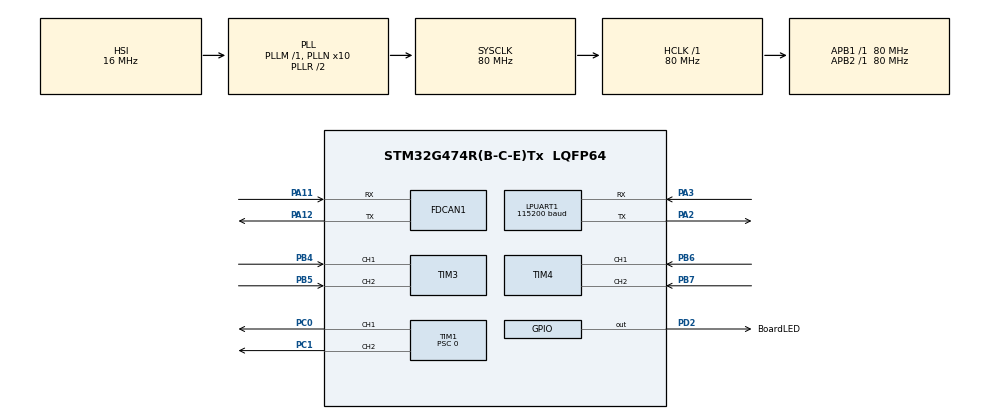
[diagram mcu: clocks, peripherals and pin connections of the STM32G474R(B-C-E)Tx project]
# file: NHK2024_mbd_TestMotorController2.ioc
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FDCAN1.CalculateBaudRateNominal=1000000
FDCAN1.CalculateTimeBitNominal=1000
FDCAN1.CalculateTimeQuantumNominal=50.0
FDCAN1.DataPrescaler=2
FDCAN1.DataTimeSeg1=15
FDCAN1.DataTimeSeg2=4
FDCAN1.FrameFormat=FDCAN_FRAME_FD_BRS
FDCAN1.NominalPrescaler=4
FDCAN1.NominalTimeSeg1=15
FDCAN1.NominalTimeSeg2=4
FDCAN1.StdFiltersNbr=1
IWDG.Prescaler=IWDG_PRESCALER_32
IWDG.Reload=999
IWDG.Window=999
LPUART1.BaudRate=115200
Mcu.Family=STM32G4
Mcu.Name=STM32G474R(B-C-E)Tx
Mcu.Package=LQFP64
NVIC.FDCAN1_IT0_IRQn=true\:0\:0\:false\:false\:true\:true\:true\:true
NVIC.PriorityGroup=NVIC_PRIORITYGROUP_4
NVIC.TIM6_DAC_IRQn=true\:0\:0\:false\:false\:true\:true\:true\:true
PA11.Mode=FDCAN_Activate
PA11.Signal=FDCAN1_RX
PA12.Mode=FDCAN_Activate
PA12.Signal=FDCAN1_TX
PA2.Mode=Asynchronous
PA2.Signal=LPUART1_TX
PA3.Mode=Asynchronous
PA3.Signal=LPUART1_RX
PB4.Signal=S_TIM3_CH1
PB5.Signal=S_TIM3_CH2
PB6.Signal=S_TIM4_CH1
PB7.Signal=S_TIM4_CH2
PC0.Signal=S_TIM1_CH1
PC1.Signal=S_TIM1_CH2
PD2.GPIO_Label=BoardLED
PD2.Signal=GPIO_Output
ProjectManager.HeapSize=0x200
ProjectManager.StackSize=0x400
ProjectManager.TargetToolchain=STM32CubeIDE
RCC.ADC12Freq_Value=80000000
RCC.ADC345Freq_Value=80000000
RCC.AHBFreq_Value=80000000
RCC.APB1Freq_Value=80000000
RCC.APB1TimFreq_Value=80000000
RCC.APB2Freq_Value=80000000
RCC.APB2TimFreq_Value=80000000
RCC.CortexFreq_Value=80000000
RCC.EXTERNAL_CLOCK_VALUE=12288000
RCC.HCLKFreq_Value=80000000
RCC.HSE_VALUE=8000000
RCC.HSI48_VALUE=48000000
RCC.HSI_VALUE=16000000
RCC.LSE_VALUE=32768
RCC.PLLN=10
RCC.SYSCLKFreq_VALUE=80000000
RCC.SYSCLKSource=RCC_SYSCLKSOURCE_PLLCLK
RCC.USBFreq_Value=80000000
RCC.VCOOutputFreq_Value=160000000
SH.S_TIM1_CH1.0=TIM1_CH1,PWM Generation1 CH1
SH.S_TIM1_CH2.0=TIM1_CH2,PWM Generation2 CH2
SH.S_TIM3_CH1.0=TIM3_CH1,Encoder_Interface
SH.S_TIM3_CH2.0=TIM3_CH2,Encoder_Interface
SH.S_TIM4_CH1.0=TIM4_CH1,Encoder_Interface
SH.S_TIM4_CH2.0=TIM4_CH2,Encoder_Interface
TIM1.Channel-PWM\ Generation1\ CH1=TIM_CHANNEL_1
TIM1.Channel-PWM\ Generation2\ CH2=TIM_CHANNEL_2
TIM1.PeriodNoDither=3999
TIM1.Prescaler=0
TIM6.PeriodNoDither=999
TIM6.Prescaler=79
VP_IWDG_VS_IWDG.Mode=IWDG_Activate
VP_TIM6_VS_ClockSourceINT.Mode=Enable_Timer
board=custom

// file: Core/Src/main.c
/* USER CODE BEGIN Header */
/**
  ******************************************************************************
  * @file           : main.c
  * @brief          : Main program body
  ******************************************************************************
  * @attention
  *
  * Copyright (c) 2024 STMicroelectronics.
  * All rights reserved.
  *
  * This software is licensed under terms that can be found in the LICENSE file
  * in the root directory of this software component.
  * If no LICENSE file comes with this software, it is provided AS-IS.
  *
  ******************************************************************************
  */
/* USER CODE END Header */
#include "main.h"

/* USER CODE BEGIN Includes */
#include "pid.h"
#include "R1CANIDList.h"
#include <stdio.h>

/* USER CODE END Includes */

/* USER CODE BEGIN PM */
#define CONTROL_CYCLE 1 //milli sec

#define PRINT 0

#define MIN_DUTY 1500

/* USER CODE END PM */

FDCAN_HandleTypeDef hfdcan1;

IWDG_HandleTypeDef hiwdg;

UART_HandleTypeDef hlpuart1;

TIM_HandleTypeDef htim1;
TIM_HandleTypeDef htim3;
TIM_HandleTypeDef htim4;
TIM_HandleTypeDef htim6;

/* USER CODE BEGIN PV */

PID motor_vel_pid[2];
double kp[2] = {5, 5};
float kd[2] = {0, 0};
float ki[2] = {0, 0};
double setpoint[2] = {700, 700};//ここ変えたら目標値が変わる．目標値はエンコーダのパルス数/msec

// CAN settings
FDCAN_TxHeaderTypeDef FDCAN1_TxHeader;
FDCAN_RxHeaderTypeDef FDCAN1_RxHeader;

/* USER CODE END PV */

void SystemClock_Config(void);
static void MX_GPIO_Init(void);
static void MX_TIM1_Init(void);
static void MX_TIM3_Init(void);
static void MX_TIM4_Init(void);
static void MX_TIM6_Init(void);
static void MX_LPUART1_UART_Init(void);
static void MX_FDCAN1_Init(void);
static void MX_IWDG_Init(void);
/* USER CODE BEGIN PFP */
int read_encoder_value(TIM_TypeDef *TIM);
/* USER CODE END PFP */

/* USER CODE BEGIN 0 */
void HAL_FDCAN_RxFifo0Callback(FDCAN_HandleTypeDef *hfdcan, uint32_t RxFifo0ITs) {
  uint8_t FDCAN1_RxData[2] = {0};

//  printf("FIFO0 callback\r\n");

  // Error Handling
  if ((RxFifo0ITs & FDCAN_IT_RX_FIFO0_NEW_MESSAGE) == RESET) return;
  if (hfdcan != &hfdcan1) return;

  if (HAL_FDCAN_GetRxMessage(hfdcan, FDCAN_RX_FIFO0, &FDCAN1_RxHeader, FDCAN1_RxData) != HAL_OK) {
      Error_Handler();
  }

//  printf("id = %d, data = %d\r\n", FDCAN1_RxHeader.Identifier, FDCAN1_RxData[0]);

  switch(FDCAN1_RxHeader.Identifier) {
    case CANID_BALL_MOTOR_ON:
      if (FDCAN1_RxData[0] == 0) { // motor running => stop
          printf("stop\r\n");
          HAL_TIM_PWM_Stop(&htim1, TIM_CHANNEL_1);
          HAL_TIM_PWM_Stop(&htim1, TIM_CHANNEL_2);
          HAL_TIM_Base_Stop_IT(&htim6);
      } else if (FDCAN1_RxData[0] == 1) { // motor stop => running
          printf("start\r\n");
          HAL_TIM_PWM_Start(&htim1, TIM_CHANNEL_1);
          HAL_TIM_PWM_Start(&htim1, TIM_CHANNEL_2);
          HAL_TIM_Base_Start_IT(&htim6);
      }
      break;

    case CANID_CHECK_IS_ACTIVE:
      if (HAL_IWDG_Refresh(&hiwdg) != HAL_OK)
      {
        Error_Handler();
      }
      break;

    default:
      break;
  }

}

void HAL_TIM_PeriodElapsedCallback(TIM_HandleTypeDef *htim)
{

	if(htim == &htim6){
		float vel[2] = {};

		vel[0] = read_encoder_value(TIM3)/CONTROL_CYCLE;
		vel[1] = read_encoder_value(TIM4)/CONTROL_CYCLE;

		int duty[2];

		for(uint8_t i=0; i<2; i++){
//			duty[i] = pid_compute(&motor_vel_pid[i], vel[i]);
//			//duty比が0で出力100%になるようになっているらしいので，数値を反転&PWM max or minを超えているときにmax or minに合わせて出力
//			duty[i] = duty[i]>htim1.Init.Period ? htim1.Init.Period : duty[i];
//			duty[i] = duty[i]<0                 ? 0                 : duty[i];
//			duty[i] = htim1.Init.Period - duty[i];
//
//			if (MIN_DUTY > duty[i]) { // For safty
//			    duty[i] = MIN_DUTY;
//			}
		    duty[i] = 3100;
		}

		__HAL_TIM_SET_COMPARE(&htim1, TIM_CHANNEL_1, duty[0]);
		__HAL_TIM_SET_COMPARE(&htim1, TIM_CHANNEL_2, duty[1]);

#if PRINT == 0
		static uint8_t index = 0;
		if(index == 50){
			printf("velocity :%f, duty:%d\r\n", vel[0], duty[0]);
//		  printf("%f, %f, %f, %f\r\n", 0, vel[0], motor_vel_pid[0].last_error, 100);
			index=0;
		}
		index++;
#endif

	  // For debug
//		uint32_t vel_0 = (uint32_t)vel[0];
//		uint32_t vel_1 = (uint32_t)vel[1];
//
//		uint8_t vels_for_debug[8];
//
//		vels_for_debug[0] = (value >> 24) & 0xFF; // 最上位バイト
//		vels_for_debug[1] = (value >> 16) & 0xFF;
//		vels_for_debug[2] = (value >> 8) & 0xFF;
//		vels_for_debug[3] = value & 0xFF; // 最下位バイト
//
//	  FDCAN1_TxHeader.Identifier = CANID_SHOOT_FOR_DEBUG;
//	  FDCAN1_TxHeader.DataLength = FDCAN_DLC_BYTES_4;
//	    if (HAL_FDCAN_AddMessageToTxFifoQ(&hfdcan1, &FDCAN1_TxHeader, vels_for_debug) != HAL_OK) {
//	        Error_Handler();
//	    }
	}
}

int read_encoder_value(TIM_TypeDef *TIM){
    uint32_t enc_buff = TIM->CNT;

	  TIM->CNT = 0;

	  uint32_t f_distance = enc_buff;
	  uint32_t b_distance = (65535 - enc_buff);

	  return (f_distance < b_distance) ? (int)(f_distance) : (int)(b_distance);
}

int _write(int file, char *ptr, int len)
{
    HAL_UART_Transmit(&hlpuart1,(uint8_t *)ptr,len,8);
    return len;
}

/* USER CODE END 0 */

int main(void)
{
  /* USER CODE BEGIN 1 */
	setbuf(stdout, NULL);
  /* USER CODE END 1 */

  /* MCU Configuration--------------------------------------------------------*/

  /* Reset of all peripherals, Initializes the Flash interface and the Systick. */
  HAL_Init();

  /* Configure the system clock */
  SystemClock_Config();

  /* Initialize all configured peripherals */
  MX_GPIO_Init();
  MX_TIM1_Init();
  MX_TIM3_Init();
  MX_TIM4_Init();
  MX_TIM6_Init();
  MX_LPUART1_UART_Init();
  MX_FDCAN1_Init();
  MX_IWDG_Init();
  /* USER CODE BEGIN 2 */

	HAL_TIM_Encoder_Start(&htim3, TIM_CHANNEL_ALL);
	HAL_TIM_PWM_Start(&htim1, TIM_CHANNEL_1);
	HAL_TIM_Encoder_Start(&htim4, TIM_CHANNEL_ALL);
	HAL_TIM_PWM_Start(&htim1, TIM_CHANNEL_2);

	for(uint8_t i=0; i<2; i++){
		pid_init(&motor_vel_pid[i], CONTROL_CYCLE, kp[i],  kd[i], ki[i], setpoint[i], 0, 250);
	}

	HAL_TIM_PWM_Stop(&htim1, TIM_CHANNEL_1);
	HAL_TIM_PWM_Stop(&htim1, TIM_CHANNEL_2);
	HAL_TIM_Base_Stop_IT(&htim6);

	printf("Initialized\r\n");
//  HAL_TIM_Base_Start_IT(&htim6);
  /* USER CODE END 2 */

  /* Infinite loop */
  while (1)
  {

  }
}

void SystemClock_Config(void)
{
  RCC_OscInitTypeDef RCC_OscInitStruct = {0};
  RCC_ClkInitTypeDef RCC_ClkInitStruct = {0};

  /** Configure the main internal regulator output voltage
  */
  HAL_PWREx_ControlVoltageScaling(PWR_REGULATOR_VOLTAGE_SCALE1);

  /** Initializes the RCC Oscillators according to the specified parameters
  * in the RCC_OscInitTypeDef structure.
  */
  RCC_OscInitStruct.OscillatorType = RCC_OSCILLATORTYPE_HSI|RCC_OSCILLATORTYPE_LSI;
  RCC_OscInitStruct.HSIState = RCC_HSI_ON;
  RCC_OscInitStruct.HSICalibrationValue = RCC_HSICALIBRATION_DEFAULT;
  RCC_OscInitStruct.LSIState = RCC_LSI_ON;
  RCC_OscInitStruct.PLL.PLLState = RCC_PLL_ON;
  RCC_OscInitStruct.PLL.PLLSource = RCC_PLLSOURCE_HSI;
  RCC_OscInitStruct.PLL.PLLM = RCC_PLLM_DIV1;
  RCC_OscInitStruct.PLL.PLLN = 10;
  RCC_OscInitStruct.PLL.PLLP = RCC_PLLP_DIV2;
  RCC_OscInitStruct.PLL.PLLQ = RCC_PLLQ_DIV2;
  RCC_OscInitStruct.PLL.PLLR = RCC_PLLR_DIV2;
  if (HAL_RCC_OscConfig(&RCC_OscInitStruct) != HAL_OK)
  {
    Error_Handler();
  }

  /** Initializes the CPU, AHB and APB buses clocks
  */
  RCC_ClkInitStruct.ClockType = RCC_CLOCKTYPE_HCLK|RCC_CLOCKTYPE_SYSCLK
                              |RCC_CLOCKTYPE_PCLK1|RCC_CLOCKTYPE_PCLK2;
  RCC_ClkInitStruct.SYSCLKSource = RCC_SYSCLKSOURCE_PLLCLK;
  RCC_ClkInitStruct.AHBCLKDivider = RCC_SYSCLK_DIV1;
  RCC_ClkInitStruct.APB1CLKDivider = RCC_HCLK_DIV1;
  RCC_ClkInitStruct.APB2CLKDivider = RCC_HCLK_DIV1;

  if (HAL_RCC_ClockConfig(&RCC_ClkInitStruct, FLASH_LATENCY_2) != HAL_OK)
  {
    Error_Handler();
  }
}

static void MX_FDCAN1_Init(void)
{

  hfdcan1.Instance = FDCAN1;
  hfdcan1.Init.ClockDivider = FDCAN_CLOCK_DIV1;
  hfdcan1.Init.FrameFormat = FDCAN_FRAME_FD_BRS;
  hfdcan1.Init.Mode = FDCAN_MODE_NORMAL;
  hfdcan1.Init.AutoRetransmission = DISABLE;
  hfdcan1.Init.TransmitPause = DISABLE;
  hfdcan1.Init.ProtocolException = DISABLE;
  hfdcan1.Init.NominalPrescaler = 4;
  hfdcan1.Init.NominalSyncJumpWidth = 1;
  hfdcan1.Init.NominalTimeSeg1 = 15;
  hfdcan1.Init.NominalTimeSeg2 = 4;
  hfdcan1.Init.DataPrescaler = 2;
  hfdcan1.Init.DataSyncJumpWidth = 1;
  hfdcan1.Init.DataTimeSeg1 = 15;
  hfdcan1.Init.DataTimeSeg2 = 4;
  hfdcan1.Init.StdFiltersNbr = 1;
  hfdcan1.Init.ExtFiltersNbr = 0;
  hfdcan1.Init.TxFifoQueueMode = FDCAN_TX_FIFO_OPERATION;
  if (HAL_FDCAN_Init(&hfdcan1) != HAL_OK)
  {
    Error_Handler();
  }
  /* USER CODE BEGIN FDCAN1_Init 2 */
//  FDCAN1_TxHeader.Identifier = 0x000;
  FDCAN1_TxHeader.IdType = FDCAN_STANDARD_ID;
  FDCAN1_TxHeader.TxFrameType = FDCAN_DATA_FRAME;
  FDCAN1_TxHeader.DataLength = FDCAN_DLC_BYTES_1;
  FDCAN1_TxHeader.ErrorStateIndicator = FDCAN_ESI_ACTIVE;
  FDCAN1_TxHeader.BitRateSwitch = FDCAN_BRS_ON;
  FDCAN1_TxHeader.FDFormat = FDCAN_FD_CAN;
  FDCAN1_TxHeader.TxEventFifoControl = FDCAN_NO_TX_EVENTS;
  FDCAN1_TxHeader.MessageMarker = 0;

  FDCAN_FilterTypeDef FDCAN1_sFilterConfig;
  FDCAN1_sFilterConfig.IdType = FDCAN_STANDARD_ID;
  FDCAN1_sFilterConfig.FilterIndex = 0;
  FDCAN1_sFilterConfig.FilterType = FDCAN_FILTER_RANGE;
  FDCAN1_sFilterConfig.FilterConfig = FDCAN_FILTER_TO_RXFIFO0;
  FDCAN1_sFilterConfig.FilterID1 = 0x00;
  FDCAN1_sFilterConfig.FilterID2 = 0x7ff;

  if (HAL_FDCAN_ConfigFilter(&hfdcan1, &FDCAN1_sFilterConfig) != HAL_OK) {
      Error_Handler();
  }
  if (HAL_FDCAN_ConfigGlobalFilter(&hfdcan1, FDCAN_REJECT, FDCAN_REJECT, FDCAN_FILTER_REMOTE, FDCAN_FILTER_REMOTE) !=
      HAL_OK) {
      Error_Handler();
  }
  if (HAL_FDCAN_Start(&hfdcan1) != HAL_OK) {
      Error_Handler();
  }
  if (HAL_FDCAN_ActivateNotification(&hfdcan1, FDCAN_IT_RX_FIFO0_NEW_MESSAGE, 0) != HAL_OK){
      Error_Handler();
  }
  /* USER CODE END FDCAN1_Init 2 */

}

static void MX_IWDG_Init(void)
{

  hiwdg.Instance = IWDG;
  hiwdg.Init.Prescaler = IWDG_PRESCALER_32;
  hiwdg.Init.Window = 999;
  hiwdg.Init.Reload = 999;
  if (HAL_IWDG_Init(&hiwdg) != HAL_OK)
  {
    Error_Handler();
  }

}

static void MX_LPUART1_UART_Init(void)
{

  hlpuart1.Instance = LPUART1;
  hlpuart1.Init.BaudRate = 115200;
  hlpuart1.Init.WordLength = UART_WORDLENGTH_8B;
  hlpuart1.Init.StopBits = UART_STOPBITS_1;
  hlpuart1.Init.Parity = UART_PARITY_NONE;
  hlpuart1.Init.Mode = UART_MODE_TX_RX;
  hlpuart1.Init.HwFlowCtl = UART_HWCONTROL_NONE;
  hlpuart1.Init.OneBitSampling = UART_ONE_BIT_SAMPLE_DISABLE;
  hlpuart1.Init.ClockPrescaler = UART_PRESCALER_DIV1;
  hlpuart1.AdvancedInit.AdvFeatureInit = UART_ADVFEATURE_NO_INIT;
  if (HAL_UART_Init(&hlpuart1) != HAL_OK)
  {
    Error_Handler();
  }
  if (HAL_UARTEx_SetTxFifoThreshold(&hlpuart1, UART_TXFIFO_THRESHOLD_1_8) != HAL_OK)
  {
    Error_Handler();
  }
  if (HAL_UARTEx_SetRxFifoThreshold(&hlpuart1, UART_RXFIFO_THRESHOLD_1_8) != HAL_OK)
  {
    Error_Handler();
  }
  if (HAL_UARTEx_DisableFifoMode(&hlpuart1) != HAL_OK)
  {
    Error_Handler();
  }

}

static void MX_TIM1_Init(void)
{

  TIM_MasterConfigTypeDef sMasterConfig = {0};
  TIM_OC_InitTypeDef sConfigOC = {0};
  TIM_BreakDeadTimeConfigTypeDef sBreakDeadTimeConfig = {0};

  htim1.Instance = TIM1;
  htim1.Init.Prescaler = 0;
  htim1.Init.CounterMode = TIM_COUNTERMODE_UP;
  htim1.Init.Period = 3999;
  htim1.Init.ClockDivision = TIM_CLOCKDIVISION_DIV1;
  htim1.Init.RepetitionCounter = 0;
  htim1.Init.AutoReloadPreload = TIM_AUTORELOAD_PRELOAD_DISABLE;
  if (HAL_TIM_PWM_Init(&htim1) != HAL_OK)
  {
    Error_Handler();
  }
  sMasterConfig.MasterOutputTrigger = TIM_TRGO_RESET;
  sMasterConfig.MasterOutputTrigger2 = TIM_TRGO2_RESET;
  sMasterConfig.MasterSlaveMode = TIM_MASTERSLAVEMODE_DISABLE;
  if (HAL_TIMEx_MasterConfigSynchronization(&htim1, &sMasterConfig) != HAL_OK)
  {
    Error_Handler();
  }
  sConfigOC.OCMode = TIM_OCMODE_PWM1;
  sConfigOC.Pulse = 0;
  sConfigOC.OCPolarity = TIM_OCPOLARITY_HIGH;
  sConfigOC.OCNPolarity = TIM_OCNPOLARITY_HIGH;
  sConfigOC.OCFastMode = TIM_OCFAST_DISABLE;
  sConfigOC.OCIdleState = TIM_OCIDLESTATE_RESET;
  sConfigOC.OCNIdleState = TIM_OCNIDLESTATE_RESET;
  if (HAL_TIM_PWM_ConfigChannel(&htim1, &sConfigOC, TIM_CHANNEL_1) != HAL_OK)
  {
    Error_Handler();
  }
  if (HAL_TIM_PWM_ConfigChannel(&htim1, &sConfigOC, TIM_CHANNEL_2) != HAL_OK)
  {
    Error_Handler();
  }
  sBreakDeadTimeConfig.OffStateRunMode = TIM_OSSR_DISABLE;
  sBreakDeadTimeConfig.OffStateIDLEMode = TIM_OSSI_DISABLE;
  sBreakDeadTimeConfig.LockLevel = TIM_LOCKLEVEL_OFF;
  sBreakDeadTimeConfig.DeadTime = 0;
  sBreakDeadTimeConfig.BreakState = TIM_BREAK_DISABLE;
  sBreakDeadTimeConfig.BreakPolarity = TIM_BREAKPOLARITY_HIGH;
  sBreakDeadTimeConfig.BreakFilter = 0;
  sBreakDeadTimeConfig.BreakAFMode = TIM_BREAK_AFMODE_INPUT;
  sBreakDeadTimeConfig.Break2State = TIM_BREAK2_DISABLE;
  sBreakDeadTimeConfig.Break2Polarity = TIM_BREAK2POLARITY_HIGH;
  sBreakDeadTimeConfig.Break2Filter = 0;
  sBreakDeadTimeConfig.Break2AFMode = TIM_BREAK_AFMODE_INPUT;
  sBreakDeadTimeConfig.AutomaticOutput = TIM_AUTOMATICOUTPUT_DISABLE;
  if (HAL_TIMEx_ConfigBreakDeadTime(&htim1, &sBreakDeadTimeConfig) != HAL_OK)
  {
    Error_Handler();
  }
  HAL_TIM_MspPostInit(&htim1);

}

static void MX_TIM3_Init(void)
{

  TIM_Encoder_InitTypeDef sConfig = {0};
  TIM_MasterConfigTypeDef sMasterConfig = {0};

  htim3.Instance = TIM3;
  htim3.Init.Prescaler = 0;
  htim3.Init.CounterMode = TIM_COUNTERMODE_UP;
  htim3.Init.Period = 65535;
  htim3.Init.ClockDivision = TIM_CLOCKDIVISION_DIV1;
  htim3.Init.AutoReloadPreload = TIM_AUTORELOAD_PRELOAD_DISABLE;
  sConfig.EncoderMode = TIM_ENCODERMODE_TI1;
  sConfig.IC1Polarity = TIM_ICPOLARITY_RISING;
  sConfig.IC1Selection = TIM_ICSELECTION_DIRECTTI;
  sConfig.IC1Prescaler = TIM_ICPSC_DIV1;
  sConfig.IC1Filter = 0;
  sConfig.IC2Polarity = TIM_ICPOLARITY_RISING;
  sConfig.IC2Selection = TIM_ICSELECTION_DIRECTTI;
  sConfig.IC2Prescaler = TIM_ICPSC_DIV1;
  sConfig.IC2Filter = 0;
  if (HAL_TIM_Encoder_Init(&htim3, &sConfig) != HAL_OK)
  {
    Error_Handler();
  }
  sMasterConfig.MasterOutputTrigger = TIM_TRGO_RESET;
  sMasterConfig.MasterSlaveMode = TIM_MASTERSLAVEMODE_DISABLE;
  if (HAL_TIMEx_MasterConfigSynchronization(&htim3, &sMasterConfig) != HAL_OK)
  {
    Error_Handler();
  }

}

static void MX_TIM4_Init(void)
{

  TIM_Encoder_InitTypeDef sConfig = {0};
  TIM_MasterConfigTypeDef sMasterConfig = {0};

  htim4.Instance = TIM4;
  htim4.Init.Prescaler = 0;
  htim4.Init.CounterMode = TIM_COUNTERMODE_UP;
  htim4.Init.Period = 65535;
  htim4.Init.ClockDivision = TIM_CLOCKDIVISION_DIV1;
  htim4.Init.AutoReloadPreload = TIM_AUTORELOAD_PRELOAD_DISABLE;
  sConfig.EncoderMode = TIM_ENCODERMODE_TI1;
  sConfig.IC1Polarity = TIM_ICPOLARITY_RISING;
  sConfig.IC1Selection = TIM_ICSELECTION_DIRECTTI;
  sConfig.IC1Prescaler = TIM_ICPSC_DIV1;
  sConfig.IC1Filter = 0;
  sConfig.IC2Polarity = TIM_ICPOLARITY_RISING;
  sConfig.IC2Selection = TIM_ICSELECTION_DIRECTTI;
  sConfig.IC2Prescaler = TIM_ICPSC_DIV1;
  sConfig.IC2Filter = 0;
  if (HAL_TIM_Encoder_Init(&htim4, &sConfig) != HAL_OK)
  {
    Error_Handler();
  }
  sMasterConfig.MasterOutputTrigger = TIM_TRGO_RESET;
  sMasterConfig.MasterSlaveMode = TIM_MASTERSLAVEMODE_DISABLE;
  if (HAL_TIMEx_MasterConfigSynchronization(&htim4, &sMasterConfig) != HAL_OK)
  {
    Error_Handler();
  }

}

static void MX_TIM6_Init(void)
{

  TIM_MasterConfigTypeDef sMasterConfig = {0};

  htim6.Instance = TIM6;
  htim6.Init.Prescaler = 79;
  htim6.Init.CounterMode = TIM_COUNTERMODE_UP;
  htim6.Init.Period = 999;
  htim6.Init.AutoReloadPreload = TIM_AUTORELOAD_PRELOAD_DISABLE;
  if (HAL_TIM_Base_Init(&htim6) != HAL_OK)
  {
    Error_Handler();
  }
  sMasterConfig.MasterOutputTrigger = TIM_TRGO_RESET;
  sMasterConfig.MasterSlaveMode = TIM_MASTERSLAVEMODE_DISABLE;
  if (HAL_TIMEx_MasterConfigSynchronization(&htim6, &sMasterConfig) != HAL_OK)
  {
    Error_Handler();
  }

}

static void MX_GPIO_Init(void)
{
  GPIO_InitTypeDef GPIO_InitStruct = {0};

  /* GPIO Ports Clock Enable */
  __HAL_RCC_GPIOC_CLK_ENABLE();
  __HAL_RCC_GPIOA_CLK_ENABLE();
  __HAL_RCC_GPIOD_CLK_ENABLE();
  __HAL_RCC_GPIOB_CLK_ENABLE();

  /*Configure GPIO pin Output Level */
  HAL_GPIO_WritePin(BoardLED_GPIO_Port, BoardLED_Pin, GPIO_PIN_RESET);

  /*Configure GPIO pin : BoardLED_Pin */
  GPIO_InitStruct.Pin = BoardLED_Pin;
  GPIO_InitStruct.Mode = GPIO_MODE_OUTPUT_PP;
  GPIO_InitStruct.Pull = GPIO_NOPULL;
  GPIO_InitStruct.Speed = GPIO_SPEED_FREQ_LOW;
  HAL_GPIO_Init(BoardLED_GPIO_Port, &GPIO_InitStruct);

}

void Error_Handler(void)
{
  /* USER CODE BEGIN Error_Handler_Debug */
  /* User can add his own implementation to report the HAL error return state */
  HAL_GPIO_WritePin(BoardLED_GPIO_Port, BoardLED_Pin, GPIO_PIN_SET);
  __disable_irq();
  while (1)
  {
  }
  /* USER CODE END Error_Handler_Debug */
}
